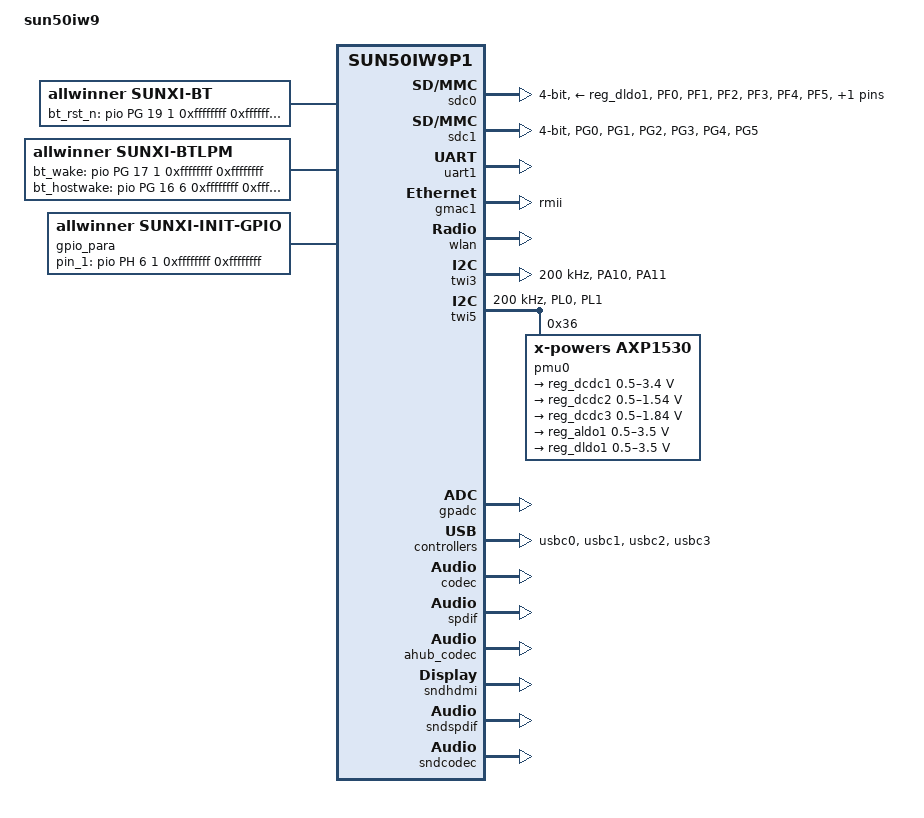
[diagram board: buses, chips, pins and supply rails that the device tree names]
/*
 * Allwinner Technology CO., Ltd. sun8iw19p1 soc board.
 *
 * soc board support.
 */

/dts-v1/;

#include "sun50iw9p1.dtsi"

/{
	model = "sun50iw9";
	compatible = "allwinner,h616", "arm,sun50iw9p1";

	soc@03000000 {
		sdc2: sdmmc@04022000 {
			pinctrl-0 = <&sdc2_pins_a &sdc2_pins_c>;
			non-removable;
			bus-width = <8>;
			mmc-ddr-1_8v;
			mmc-hs200-1_8v;
			mmc-hs400-1_8v;
			no-sdio;
			no-sd;
			cap-mmc-highspeed;
			sunxi-power-save-mode;
			sunxi-dis-signal-vol-sw;
			max-frequency = <100000000>;
			ctl-spec-caps = <0x8>;
			vmmc-supply = <&reg_dldo1>;
			vqmmc-supply = <&reg_aldo1>;
			status = "disabled";
		};

		sdc0: sdmmc@04020000 {
			pinctrl-0 = <&sdc0_pins_a>;
			bus-width = <4>;
			cd-gpios = <&pio PF 6 6 1 3 0xffffffff>;
			cd-used-24M;
			/*non-removable;*/
			/*broken-cd;*/
			/*cd-inverted*/
			/*data3-detect;*/
			cap-sd-highspeed;
			sd-uhs-sdr50;
			sd-uhs-ddr50;
			sd-uhs-sdr104;
			no-sdio;
			no-mmc;
			sunxi-power-save-mode;
			/*sunxi-dis-signal-vol-sw;*/
			max-frequency = <150000000>;
			ctl-spec-caps = <0x8>;
			vmmc-supply = <&reg_dldo1>;
			vqmmc33sw-supply = <&reg_dldo1>;
			vdmmc33sw-supply = <&reg_dldo1>;
			vqmmc18sw-supply = <&reg_aldo1>;
			vdmmc18sw-supply = <&reg_aldo1>;
			status = "okay";
		};

		sdc1: sdmmc@04021000 {
			pinctrl-0 = <&sdc1_pins_a>;
			bus-width = <4>;
			no-mmc;
			no-sd;
			cap-sd-highspeed;
			/*sd-uhs-sdr12*/
			/*sd-uhs-sdr25*/
			sd-uhs-sdr50;
			sd-uhs-ddr50;
			sd-uhs-sdr104;
			/*sunxi-power-save-mode;*/
			sunxi-dis-signal-vol-sw;
			sdio-used-1v8;
			cap-sdio-irq;
			keep-power-in-suspend;
			ignore-pm-notify;
			max-frequency = <150000000>;
			ctl-spec-caps = <0x8>;
			status = "okay";
		};

		uart1: uart@05000400 {
			status = "okay";
		};

		gmac0: eth@05020000 {
			phy-mode = "rgmii";
			use_ephy25m = <1>;
			tx-delay = <6>;
			rx-delay = <0>;
			status = "disabled";
		};

		gmac1: eth@05030000 {
			phy-mode = "rmii";
			status = "okay";
		};

		ac200: ac200 {
			tv_used = <1>;
			tv_twi_used = <1>;
			tv_twi_id = <3>;
			tv_twi_addr = <16>;
			tv_pwm_ch = <5>;
			status = "okay";
		};

		wlan:wlan {
			compatible    = "allwinner,sunxi-wlan";
			clocks        = <&clk_losc_out>;
			pinctrl-0     = <&clk_losc_pins_a>;
			pinctrl-names = "default";
			wlan_busnum   = <0x1>;
			wlan_power;
			wlan_io_regulator;
			wlan_regon    = <&pio PG 18 1 0xffffffff 0xffffffff 0>;
			wlan_hostwake = <&pio PG 15 6 0xffffffff 0xffffffff 0>;
			chip_en;
			power_en;
			status        = "okay";
		};

		bt:bt {
			compatible    = "allwinner,sunxi-bt";
			clocks        = <&clk_losc_out>;
			bt_power;
			bt_io_regulator;
			bt_rst_n      = <&pio PG 19 1 0xffffffff 0xffffffff 0>;
			status        = "okay";
		};

		btlpm:btlpm {
			compatible  = "allwinner,sunxi-btlpm";
			uart_index  = <0x1>;
			bt_wake     = <&pio PG 17 1 0xffffffff 0xffffffff 1>;
			bt_hostwake = <&pio PG 16 6 0xffffffff 0xffffffff 0>;
			status      = "okay";
		};

		addr_mgt:addr_mgt {
			compatible     = "allwinner,sunxi-addr_mgt";
			type_addr_wifi = <0x0>;
			type_addr_bt   = <0x0>;
			type_addr_eth  = <0x0>;
			status         = "okay";
		};

		r_pio: pinctrl@07022000 {

			s_twi0_pins_a: s_twi0@0 {
				allwinner,pins = "PL0", "PL1";
				allwinner,pname = "s_twi0_scl", "s_twi0_sda";
				allwinner,function = "s_twi0";
				allwinner,muxsel = <3>;
				allwinner,drive = <1>;
				allwinner,pull = <1>;
			};

			s_twi0_pins_b: s_twi0@1 {
				allwinner,pins = "PL0", "PL1";
				allwinner,function = "io_disabled";
				allwinner,muxsel = <7>;
				allwinner,drive = <1>;
				allwinner,pull = <0>;
			};
		};

		pio: pinctrl@0300b000 {

			spi1_pins_a: spi1@0 {
				allwinner,pins = "PH6", "PH7", "PH8";
				allwinner,pname = "spi1_sclk", "spi1_mosi", "spi1_miso";
				allwinner,function = "spi1";
			};

			spi1_pins_b: spi1@1 {
				allwinner,pins = "PH5", "PH9";
				allwinner,pname = "spi1_cs0", "spi1_cs1";
				allwinner,function = "spi1";
			};

			spi1_pins_c: spi1@2 {
				allwinner,pins = "PH5", "PH6", "PH7", "PH8", "PH9";
				allwinner,function = "io_disabled";
			};

			twi0_pins_a: twi0@0 {
				allwinner,pins = "PA0", "PA1";
				allwinner,pname = "twi0_scl", "twi0_sda";
				allwinner,function = "twi0";
				allwinner,muxsel = <4>;
				allwinner,drive = <1>;
				allwinner,pull = <0>;
			};

			twi0_pins_b: twi0@1 {
				allwinner,pins = "PA0", "PA1";
				allwinner,function = "io_disabled";
				allwinner,muxsel = <7>;
				allwinner,drive = <1>;
				allwinner,pull = <0>;
			};

			twi1_pins_a: twi1@0 {
				allwinner,pins = "PA2", "PA3";
				allwinner,pname = "twi1_scl", "twi1_sda";
				allwinner,function = "twi1";
				allwinner,muxsel = <4>;
				allwinner,drive = <1>;
				allwinner,pull = <0>;
			};

			twi1_pins_b: twi1@1 {
				allwinner,pins = "PA2", "PA3";
				allwinner,function = "io_disabled";
				allwinner,muxsel = <7>;
				allwinner,drive = <1>;
				allwinner,pull = <0>;
			};

			twi2_pins_a: twi2@0 {
				allwinner,pins = "PE20", "PE21";
				allwinner,pname = "twi2_scl", "twi2_sda";
				allwinner,function = "twi2";
				allwinner,muxsel = <5>;
				allwinner,drive = <1>;
				allwinner,pull = <0>;
			};

			twi2_pins_b: twi2@1 {
				allwinner,pins = "PE20", "PE21";
				allwinner,function = "io_disabled";
				allwinner,muxsel = <7>;
				allwinner,drive = <1>;
				allwinner,pull = <0>;
			};

			twi3_pins_a: twi3@0 {
				allwinner,pins = "PA10", "PA11";
				allwinner,pname = "twi3_scl", "twi3_sda";
				allwinner,function = "twi3";
				allwinner,muxsel = <2>;
				allwinner,drive = <1>;
				allwinner,pull = <1>;
			};

			twi3_pins_b: twi3@1 {
				allwinner,pins = "PA10", "PA11";
				allwinner,function = "io_disabled";
				allwinner,muxsel = <7>;
				allwinner,drive = <1>;
				allwinner,pull = <0>;
			};

			twi4_pins_a: twi4@0 {
				allwinner,pins = "PG15", "PG16";
				allwinner,pname = "twi4_scl", "twi4_sda";
				allwinner,function = "twi4";
				allwinner,muxsel = <5>;
				allwinner,drive = <1>;
				allwinner,pull = <0>;
			};

			twi4_pins_b: twi4@1 {
				allwinner,pins = "PG15", "PG16";
				allwinner,function = "io_disabled";
				allwinner,muxsel = <7>;
				allwinner,drive = <1>;
				allwinner,pull = <0>;
			};
			sdc0_pins_a: sdc0@0 {
				allwinner,pins = "PF0", "PF1", "PF2",
						 "PF3", "PF4", "PF5";
				allwinner,function = "sdc0";
				allwinner,muxsel = <2>;
				allwinner,drive = <3>;
				allwinner,pull = <1>;
			};
			sdc1_pins_a: sdc1@0 {
				allwinner,pins = "PG0", "PG1", "PG2",
						 "PG3", "PG4", "PG5";
				allwinner,function = "sdc1";
				allwinner,muxsel = <2>;
				allwinner,drive = <3>;
				allwinner,pull = <1>;
			};
			sdc2_pins_a: sdc2@0 {
				allwinner,pins = "PC1", "PC5", "PC6",
						 "PC8", "PC9", "PC10", "PC11",
						 "PC13", "PC14", "PC15", "PC16";
				allwinner,function = "sdc2";
				allwinner,muxsel = <3>;
				allwinner,drive = <2>;
				allwinner,pull = <1>;
			};
			sdc2_pins_b: sdc2@1 {
				allwinner,pins = "PC0", "PC1", "PC5", "PC6",
						 "PC8", "PC9", "PC10", "PC11",
						 "PC13", "PC14", "PC15", "PC16";
				allwinner,function = "io_disabled";
				allwinner,muxsel = <7>;
				allwinner,drive = <1>;
				allwinner,pull = <1>;
			};
			sdc2_pins_c: sdc2@2 {
				allwinner,pins = "PC0";
				allwinner,function = "sdc2";
				allwinner,muxsel = <3>;
				allwinner,drive = <2>;
				allwinner,pull = <2>;
			};
			pwm5_pin_a: pwm5@0 {
				allwinner,pins = "PA12";
				allwinner,function = "pwm5";
				allwinner,muxsel = <0x02>;
				allwinner,drive = <0xffffffff>;
				allwinner,pull = <0>;
				allwinner,data = <0xffffffff>;
			};
			pwm5_pin_b: pwm5@1 {
				allwinner,pins = "PA12";
				allwinner,function = "io_disabled";
				allwinner,muxsel = <0x07>;
				allwinner,drive = <0xffffffff>;
				allwinner,pull = <0>;
				allwinner,data = <0xffffffff>;
			};
			standby_red: standby@0 {
				allwinner,pins = "PH6";
				allwinner,function = "gpio_out";
				allwinner,muxsel = <1>;
				allwinner,data = <1>;
				allwinner,drive = <0>;
				allwinner,pull = <0>;
			};
			standby_blue: standby@1 {
				allwinner,pins = "PH7";
				allwinner,function = "gpio_out";
				allwinner,muxsel = <1>;
				allwinner,data = <0>;
				allwinner,drive = <2>;
				allwinner,pull = <2>;
			};
			standby_bt: standby@2 {
				allwinner,pins = "PG16";
				allwinner,function = "gpio_in";
				allwinner,muxsel = <0>;
				allwinner,data = <0>;
				allwinner,drive = <0>;
				allwinner,pull = <0>;
			};
		};

		spi1: spi@05011000 {
			pinctrl-0 = <&spi1_pins_a &spi1_pins_b>;
			pinctrl-1 = <&spi1_pins_c>;
			spi_slave_mode = <0>;
			status = "disabled";
			spi_board1 {
				device_type = "spi_board1";
				compatible = "rohm,dh2228fv";
				spi-max-frequency = <0x5f5e100>;
				reg = <0x0>;
				spi-rx-bus-width = <0x1>;
				spi-tx-bus-width = <0x1>;
			};
		};

		twi0: twi@0x05002000{
			clock-frequency = <400000>;
			pinctrl-0 = <&twi0_pins_a>;
			pinctrl-1 = <&twi0_pins_b>;
			status = "disabled";
		};

		twi1: twi@0x05002400{
			clock-frequency = <200000>;
			pinctrl-0 = <&twi1_pins_a>;
			pinctrl-1 = <&twi1_pins_b>;
			status = "disabled";
		};

		twi2: twi@0x05002800{
			clock-frequency = <200000>;
			pinctrl-0 = <&twi2_pins_a>;
			pinctrl-1 = <&twi2_pins_b>;
			status = "disabled";
		};

		twi3: twi@0x05002c00{
			clock-frequency = <200000>;
			pinctrl-0 = <&twi3_pins_a>;
			pinctrl-1 = <&twi3_pins_b>;
			status = "okay";
		};

		twi4: twi@0x05003000{
			clock-frequency = <200000>;
			pinctrl-0 = <&twi4_pins_a>;
			pinctrl-1 = <&twi4_pins_b>;
			status = "disabled";
		};

		twi5: twi@0x07081400{
			clock-frequency = <200000>;
			pinctrl-0 = <&s_twi0_pins_a>;
			pinctrl-1 = <&s_twi0_pins_b>;
			status = "okay";
		};

		pwm5: pwm5@0300a000 {
			pinctrl-names = "active", "sleep";
			pinctrl-0 = <&pwm5_pin_a>;
			pinctrl-1 = <&pwm5_pin_b>;
			/*internal pwm as clock,no ouput*/
			clk_bypass_output = <0x01>;
		};

	      /*----------------------------------------------------------------------------------
	       *resistance gpadc configuration
	       *channel_num:   Maxinum number of channels supported on the platform.
	       *channel_select:   channel enable setection. channel0:0x01  channel1:0x02 channel2:0x04 channel3:0x08
	       *channel_data_select:  channel data enable.  channel0:0x01  channel1:0x02 channel2:0x04 channel3:0x08.
	       *channel_compare_select:   compare function enable channel0:0x01  channel1:0x02 channel2:0x04 channel3:0x08.
	       *channel_cld_select:  compare function low data enable setection: channel0:0x01  channel1:0x02 channel2:0x04 channel3:0x08.
	       *channel_chd_select:  compare function hig data enable setection: channel0:0x01  channel1:0x02 channel2:0x04 channel3:0x08.
	       *----------------------------------------------------------------------------------*/
		gpadc:gpadc{
			channel_num = <1>;
			channel_select = <0x01>;
			channel_data_select = <0>;
			channel_compare_select = <0x01>;
			channel_cld_select = <0x01>;
			channel_chd_select = <0>;
			channel0_compare_lowdata = <1700000>;
			channel0_compare_higdata = <1200000>;
			key_cnt = <5>;
			key0_vol = <115>;
			key0_val = <115>;
			key1_vol = <240>;
			key1_val = <114>;
			key2_vol = <360>;
			key2_val = <139>;
			key3_vol = <480>;
			key3_val = <28>;
			key4_vol = <600>;
			key4_val = <102>;
			status = "okay";
		};
/*
 *usb_used: usb controller enable. 0-disable, 1-enable.
 *usb_port_type: usb mode. 0-device, 1-host, 2-otg.
 *usb_detect_type: usb hotplug detect mode. 0-none, 1-vbus/id detect, 2-id/dpdm detect.
 */
		usbc0:usbc0@0 {
			device_type		= "usbc0";
			usb_port_type		= <0x0>;
			usb_detect_type		= <0x1>;
			usb_detect_mode		= <0x0>;
			usb_id_gpio;
			usb_det_vbus_gpio;
			usb_drv_vbus_gpio;
			usb_host_init_state	= <0x0>;
			usb_regulator_io	= "nocare";
			usb_wakeup_suspend	= <0x2>;
			usb_luns		= <0x3>;
			usb_serial_unique	= <0x0>;
			usb_serial_number	= "20080411";
			status			= "okay";
		};

		usbc1:usbc1@0 {
			device_type		= "usbc1";
			usb_drv_vbus_gpio	= <&pio PH 8 0 1 0xffffffff 0xffffffff>;
			usb_host_init_state	= <0x1>;
			usb_regulator_io	= "nocare";
			usb_wakeup_suspend	= <0x2>;
			status			= "okay";
		};

		usbc2:usbc2@0 {
			device_type		= "usbc2";
			usb_drv_vbus_gpio;
			usb_host_init_state	= <0x1>;
			usb_regulator_io	= "nocare";
			usb_wakeup_suspend	= <0x2>;
			status			= "okay";
		};

		usbc3:usbc3@0 {
			device_type		= "usbc3";
			usb_drv_vbus_gpio;
			usb_host_init_state	= <0x1>;
			usb_regulator_io	= "nocare";
			usb_wakeup_suspend	= <0x2>;
			status			= "okay";
		};

		/* audio dirver module */
		codec:codec@0x05096000 {
			adcdrc_cfg  = <0x00>;
			adchpf_cfg  = <0x00>;
			dacdrc_cfg  = <0x00>;
			dachpf_cfg  = <0x00>;
			fmin_gain   = <0x03>;
			linein_gain = <0x03>;
			digital_vol = <0x00>;
			lineout_vol = <0x1a>;
			/* CVBS audio output enable control */
			gpio-spk = <&pio PH 5 1 1 1 1>;
			pa_ctl_level   = <0x01>;
			pa_msleep_time = <0x64>;
			ramp_func_used = <0x01>;
			/* codec regulator about */
			avcc-supply = <&reg_aldo1>;
			vcc33_audio-supply = <&reg_dldo1>;
			status = "okay";
		};

		spdif:spdif-controller@0x05093000{
			status = "okay";
		};

		dmic:dmic-controller@0x05095000{
			status = "disabled";
		};

		ahub_codec:ahub_codec@0x05097000{
			status = "okay";
		};

		ahub_daudio0:ahub_daudio0@0x05097000{
			/* for choose the corresponding pins */
			pinctrl-0 = <&ahub_daudio0_pins_c>;
			pinctrl-1 = <&ahub_daudio0_pins_d>;
			pinconfig 		= <0x01>;
			frametype 		= <0x00>;
			pcm_lrck_period		= <0x20>;
			slot_width_select	= <0x20>;
			daudio_master		= <0x04>;
			audio_format  		= <0x01>;
			signal_inversion 	= <0x01>;
			tdm_config		= <0x01>;
			mclk_div 		= <0x00>;
			status = "okay";
		};

		ahub_daudio1:ahub_daudio1@0x05097000{
			pinconfig 		= <0x00>;
			frametype 		= <0x00>;
			pcm_lrck_period 	= <0x20>;
			slot_width_select 	= <0x20>;
			daudio_master 		= <0x04>;
			audio_format 		= <0x01>;
			signal_inversion 	= <0x01>;
			tdm_config 		= <0x01>;
			mclk_div 		= <0x01>;
			status = "okay";
		};

		ahub_daudio2:ahub_daudio2@0x05097000{
			pinconfig 		= <0x01>;
			frametype 		= <0x00>;
			pcm_lrck_period 	= <0x20>;
			slot_width_select 	= <0x20>;
			daudio_master 		= <0x04>;
			audio_format 		= <0x01>;
			signal_inversion 	= <0x01>;
			tdm_config 		= <0x01>;
			mclk_div 		= <0x04>;
			status = "disabled";
		};

		ahub_daudio3:ahub_daudio3@0x05097000{
			pinconfig 		= <0x01>;
			frametype 		= <0x00>;
			pcm_lrck_period 	= <0x20>;
			slot_width_select 	= <0x20>;
			daudio_master 		= <0x04>;
			audio_format 		= <0x01>;
			signal_inversion 	= <0x01>;
			tdm_config 		= <0x01>;
			mclk_div 		= <0x04>;
			status = "disabled";
		};

		snddaudio0:sound@0{
			status = "okay";
		};

		sndhdmi:sound@1{
			status = "okay";
		};

		snddaudio2:sound@2{
			status = "disabled";
		};

		snddaudio3:sound@3{
			/* acx00-codec throught mfd_add_devices */
			/*
			sunxi,snddaudio-codec = "acx00-codec";
			sunxi,snddaudio-codec-dai = "acx00-dai";
			*/
			status = "disabled";
		};

		sndspdif:sound@4{
			status = "okay";
		};

		snddmic:sound@5{
			status = "disabled";
		};

		sndcodec:sound@6{
			status = "okay";
		};

		sndahub:sound@7{
			status = "okay";
		};
		gpio_para {
			device_type = "gpio_para";
			status = "okay";
			compatible = "allwinner,sunxi-init-gpio";
			gpio_num = <1>;
			gpio_pin_1 = <&pio PH 6 1 0xffffffff 0xffffffff 1>;
			normal_led = "gpio_pin_1";
			easy_light_used = <1>;
			normal_led_light = <1>;
		};
		/*----------------------------------------------------------------------------------
		disp init configuration

		disp_mode             (0:screen0<screen0,fb0>)
		screenx_output_type   (0:none; 1:lcd; 2:tv; 3:hdmi;5:vdpo)
		screenx_output_mode   (used for hdmi output, 0:480i 1:576i 2:480p 3:576p 4:720p50)
		                      (5:720p60 6:1080i50 7:1080i60 8:1080p24 9:1080p50 10:1080p60)
		screenx_output_format (for hdmi, 0:RGB 1:yuv444 2:yuv422 3:yuv420)
		screenx_output_bits   (for hdmi, 0:8bit 1:10bit 2:12bit 2:16bit)
		screenx_output_eotf   (for hdmi, 0:reserve 4:SDR 16:HDR10 18:HLG)
		screenx_output_cs     (for hdmi, 0:undefined  257:BT709 260:BT601  263:BT2020)
		screenx_output_dvi_hdmi (for hdmi, 0:undefined 1:dvi mode 2:hdmi mode)
		screen0_output_range   (for hdmi, 0:default 1:full 2:limited)
		screen0_output_scan    (for hdmi, 0:no data 1:overscan 2:underscan)
		screen0_output_aspect_ratio  (for hdmi, 8-same as original picture 9-4:3 10-16:9 11-14:9)
		fbx format            (4:RGB655 5:RGB565 6:RGB556 7:ARGB1555 8:RGBA5551 9:RGB888 10:ARGB8888 12:ARGB4444)
		fbx pixel sequence    (0:ARGB 1:BGRA 2:ABGR 3:RGBA)
		fb0_scaler_mode_enable(scaler mode enable, used FE)
		fbx_width,fbx_height  (framebuffer horizontal/vertical pixels, fix to output resolution while equal 0)
		lcdx_backlight        (lcd init backlight,the range:[0,256],default:197
		lcdx_yy               (lcd init screen bright/contrast/saturation/hue, value:0~100, default:50/50/57/50)
		lcd0_contrast         (LCD contrast, 0~100)
		lcd0_saturation       (LCD saturation, 0~100)
		lcd0_hue              (LCD hue, 0~100)
		framebuffer software rotation setting:
		disp_rotation_used:   (0:disable; 1:enable,you must set fbX_width to lcd_y,
		set fbX_height to lcd_x)
		degreeX:              (X:screen index; 0:0 degree; 1:90 degree; 3:270 degree)
		degreeX_Y:            (X:screen index; Y:layer index 0~15; 0:0 degree; 1:90 degree; 3:270 degree)
		----------------------------------------------------------------------------------*/
		disp: disp@01000000 {
			disp_init_enable         = <1>;
			disp_mode                = <0>;

			screen0_output_type      = <3>;
			screen0_output_mode      = <10>;
			screen0_output_format    = <0>;
			screen0_output_bits      = <0>;
			screen0_output_eotf      = <4>;
			screen0_output_cs        = <257>;
			screen0_output_dvi_hdmi  = <2>;
			screen0_output_range     = <2>;
			screen0_output_scan      = <0>;
			screen0_output_aspect_ratio = <8>;

			screen1_output_type      = <2>;
			screen1_output_mode      = <11>;
			screen1_output_format    = <1>;
			screen1_output_bits      = <0>;
			screen1_output_eotf      = <4>;
			screen1_output_cs        = <260>;
			screen1_output_dvi_hdmi  = <0>;
			screen1_output_range     = <2>;
			screen1_output_scan      = <0>;
			screen1_output_aspect_ratio = <8>;
			dev0_output_type         = <4>;
			dev0_output_mode         = <10>;
			dev0_screen_id           = <0>;
			dev0_do_hpd              = <1>;

			dev1_output_type         = <2>;
			dev1_output_mode         = <11>;
			dev1_screen_id           = <1>;
			dev1_do_hpd              = <1>;

			dev2_output_type         = <0>;
			def_output_dev           = <0>;
			hdmi_mode_check          = <1>;

			fb0_format               = <0>;
			fb0_width                = <1280>;
			fb0_height               = <720>;

			fb1_format               = <0>;
			fb1_width                = <0>;
			fb1_height               = <0>;

			chn_cfg_mode             = <1>;

			disp_para_zone           = <1>;
			/* VCC-LCD */
			/*dc1sw-supply = <&reg_sw>;*/
			/* VCC-LVDS and VCC-HDMI */
			/*bldo1-supply = <&reg_bldo1>;*/
			/* VCC-TV */
			/*cldo4-supply = <&reg_cldo4>;*/

		};

		/*----------------------------------------------------------------------------------
		;tv configuration
		;dac_src            (dac no,support dac_src0~dac_src3,dac num max is 4)
		;interface          (interface type,1<->cvbs,2<->YPBPR,4<->SVIDEO)
		;dac_type           (0<->composite,1<->luma,2<->chroma,3<->reserved,4<->y/green,
		;                    5<->u/pb/blue,6<->v/pr/red)
		;NOTE:              tv0,tv1 can not use the same dac_src.
		;---------------------------------------------------------------------------------*/

		tv0: tv0@01c94000 {
			status =  "okay";

			dac_src0        = <0>;
			dac_type0       = <0>;

			interface       = <1>;
			/*tv_power = "cldo4";*/
		};

		/*----------------------------------------------------------------------------------
		;lcd0 configuration

		;lcd_if:               0:hv(sync+de); 1:8080; 2:ttl; 3:lvds; 4:dsi; 5:edp; 6:extend dsi
		;lcd_hv_if             0:Parallel RGB; 8:Serial RGB; 10:Dummy RGB; 11: RGB Dummy;12:CCIR656
		;lcd_hv_clk_phase      0:0 degree;1:90 degree;2:180 degree;3:270 degree
		;lcd_hv_sync_polarity  0:vs low,hs low; 1:vs high,hslow; 2:vs low,hs high; 3:vs high,hs high
		;lcd_hv_syuv_seq       0:YUYV; 1:YVYU; 2:UYVY; 3:VYUY
		;lcd_cpu_if            0:18bit/1 cycle parallel(RGB666); 4:16bit/1cycle parallel (RGB565)
		;                      6:18bit/3 cycle parallel(RGB666); 7:16bit/2cycle parallel (RGB565)
		;lcd_cpu_te            0:frame auto trigger; 1:frame triggered by te rising edge; 2:frame triggered by te falling edge;
		;lcd_dsi_if            0:video mode; 1: Command mode; 2:video burst mode
		;lcd_dsi_te            0:frame auto trigger; 1:frame triggered by te rising edge; 2:frame triggered by te falling edge;
		;lcd_x:                lcd horizontal resolution
		;lcd_y:                lcd vertical resolution
		;lcd_width:            width of lcd in mm
		;lcd_height:           height of lcd in mm
		;lcd_dclk_freq:        in MHZ unit
		;lcd_pwm_freq:         in HZ unit
		;lcd_pwm_pol:          lcd backlight PWM polarity
		;lcd_pwm_max_limit     lcd backlight PWM max limit(<=255)
		;lcd_hbp:              hsync back porch(pixel) + hsync plus width(pixel);
		;lcd_ht:               hsync total cycle(pixel)
		;lcd_vbp:              vsync back porch(line) + vysnc plus width(line)
		;lcd_vt:               vysnc total cycle(line)
		;lcd_hspw:             hsync plus width(pixel)
		;lcd_vspw:             vysnc plus width(pixel)
		;lcd_lvds_if:          0:single link;  1:dual link
		;lcd_lvds_colordepth:  0:8bit; 1:6bit
		;lcd_lvds_mode:        0:NS mode; 1:JEIDA mode
		;lcd_frm:              0:disable; 1:enable rgb666 dither; 2:enable rgb656 dither
		;lcd_io_phase:         0:noraml; 1:intert phase(0~3bit: vsync phase; 4~7bit:hsync phase;
		;                      8~11bit:dclk phase; 12~15bit:de phase)
		;lcd_gamma_en          lcd gamma correction enable
		;lcd_bright_curve_en   lcd bright curve correction enable
		;lcd_cmap_en           lcd color map function enable
		;deu_mode              0:smoll lcd screen; 1:large lcd screen(larger than 10inch)
		;lcdgamma4iep:         Smart Backlight parameter, lcd gamma vale * 10;
		;                      decrease it while lcd is not bright enough; increase while lcd is too bright
		;smart_color           90:normal lcd screen 65:retina lcd screen(9.7inch)
		;Pin setting for special function ie.LVDS, RGB data or vsync
		;   name(donot care) = port:PD12<pin function><pull up or pull down><drive ability><output level>
		;Pin setting for gpio:
		;   lcd_gpio_X     = port:PD12<pin function><pull up or pull down><drive ability><output level>
		;Pin setting for backlight enable pin
		;   lcd_bl_en     = port:PD12<pin function><pull up or pull down><drive ability><output level>
		;fsync setting, pulse to csi
		;lcd_fsync_en          (0:disable fsync,1:enable)
		;lcd_fsync_act_time    (active time of fsync, unit:pixel)
		;lcd_fsync_pol         (0:positive;1:negative)
		;gpio config: <&pio for cpu or &r_pio for cpus, port, port num, pio function,
		pull up or pull down(default 0), driver level(default 1), data>
		;For dual link lvds: use lvds2link_pins_a  and lvds2link_pins_b instead
		;For rgb24: use rgb24_pins_a  and rgb24_pins_b instead
		;For lvds1: use lvds1_pins_a  and lvds1_pins_b instead
		;For lvds0: use lvds0_pins_a  and lvds0_pins_b instead
		;----------------------------------------------------------------------------------*/
		lcd0: lcd0@01c0c000 {
			lcd_used            = <0>;

			lcd_driver_name     = "default_lcd";
			lcd_backlight       = <50>;
			lcd_if              = <0>;

			lcd_x               = <1280>;
			lcd_y               = <800>;
			lcd_width           = <150>;
			lcd_height          = <94>;
			lcd_dclk_freq       = <70>;

			lcd_pwm_used        = <0>;
			lcd_pwm_ch          = <0>;
			lcd_pwm_freq        = <50000>;
			lcd_pwm_pol         = <0>;
			lcd_pwm_max_limit   = <255>;


			lcd_hbp             = <20>;
			lcd_ht              = <1418>;
			lcd_hspw            = <10>;
			lcd_vbp             = <10>;
			lcd_vt              = <814>;
			lcd_vspw            = <5>;

			lcd_lvds_if         = <0>;
			lcd_lvds_colordepth = <0>;
			lcd_lvds_mode       = <0>;
			lcd_frm             = <0>;
			lcd_hv_clk_phase    = <0>;
			lcd_hv_sync_polarity= <0>;
			lcd_gamma_en        = <0>;
			lcd_bright_curve_en = <0>;
			lcd_cmap_en         = <0>;

			deu_mode            = <0>;
			lcdgamma4iep        = <22>;
			smart_color         = <90>;

			lcd_pin_power = "bldo1";

			lcd_power = "dc1sw";
			/*lcd_bl_en        = <&pio PD 27 1 0 3 1>;*/
			pinctrl-0 = <&rgb24_pins_a>;
			pinctrl-1 = <&rgb24_pins_b>;

		};

		/*----------------------------------------------------------------------------------
		;hdmi configuration
		;hdmi_used:             if hdmi is used
		;hdmi_hdcp_enable:      if hdmi hdcp function enable
		;hdmi_cts_compatibility:if hdmi cts test compatibility enable
		;hdmi_power:            power name for hdmi
		;--------------------------------------------------------------------------------*/
		hdmi: hdmi@06000000 {
			hdmi_used = <1>;
			hdmi_power_cnt = <2>;
			hdmi_power0 = "vcc-hdmi";
			hdmi_power1 = "vdd-hdmi";
			hdmi_hdcp_enable = <1>;
			hdmi_hdcp22_enable = <1>;
			hdmi_cts_compatibility = <0>;
			hdmi_cec_support = <1>;
			hdmi_cec_super_standby = <0>;
			hdmi_skip_bootedid = <1>;

			ddc_en_io_ctrl = <0>;
			power_io_ctrl = <0>;
		};
	};
	box_start_os0 {
		compatible = "allwinner,box_start_os";
		start_type = <0x1>;
		irkey_used = <0x0>;
		pmukey_used = <0x0>;
		pmukey_num = <0x0>;
		led_power = <0x0>;
		led_state = <0x0>;
		pinctrl-0 = <&standby_blue>;
		pinctrl-1 = <&standby_red>;
/*		pinctrl-2 = <&standby_bt>;*/
	};
	gpu: gpu@0x01800000 {
			gpu_idle = <1>;
			dvfs_status = <0>;
			operating-points = <
				 /* KHz   uV */
				600000 950000
				576000 950000
				540000 950000
				504000 950000
			 >;
	};
};

&aliases {
	pmu0 = &pmu0;
	standby_param = &standby_param;
};

&s_cir0 {
	s_cir0_used = <1>;
	ir_power_key_code0 = <0x40>;
	ir_addr_code0 = <0xfe01>;
	ir_power_key_code1 = <0x1a>;
	ir_addr_code1 = <0xfb04>;
	ir_power_key_code2 = <0xf2>;
	ir_addr_code2 = <0x2992>;
	ir_power_key_code3 = <0x57>;
	ir_addr_code3 = <0x9f00>;
	ir_power_key_code4 = <0xdc>;
	ir_addr_code4 = <0x4cb3>;
	ir_power_key_code5 = <0x18>;
	ir_addr_code5 = <0xff00>;
	ir_power_key_code6 = <0xdc>;
	ir_addr_code6 = <0xdd22>;
	ir_power_key_code7 = <0x0d>;
	ir_addr_code7 = <0xbc00>;
	ir_power_key_code8 = <0x4d>;
	ir_addr_code8 = <0x4040>;
	wakeup-source;
};

&cpu_trips{
	cpu_crit: cpu_crit@0 {
		temperature = <115000>;
		type = "critical";
		hysteresis = <0>;
	};
};

&twi5 {
	no_suspend = <1>;
	status = "okay";

	pmu0: pmu{
		compatible = "x-powers,axp1530";
		reg = <0x36>;
/*		interrupt-parent = <&nmi_intc>;
		interrupts = <0 IRQ_TYPE_LEVEL_LOW>;
		interrupt-controller;
		#interrupt-cells = <1>;*/

		wakeup-source;

		standby_param: standby_param {
			vcc-dram = <0x4>;
		};

		regulators{
			reg_dcdc1: dcdc1 {
				regulator-name = "axp1530-dcdc1";
				regulator-min-microvolt = <500000>;
				regulator-max-microvolt = <3400000>;
				regulator-step-delay-us = <25>;
				regulator-final-delay-us = <50>;
				regulator-always-on;
			};

			reg_dcdc2: dcdc2 {
				regulator-name = "axp1530-dcdc2";
				regulator-min-microvolt = <500000>;
				regulator-max-microvolt = <1540000>;
				regulator-step-delay-us = <25>;
				regulator-final-delay-us = <50>;
				regulator-ramp-delay = <200>; /* FIXME */
				regulator-always-on;
			};

			reg_dcdc3: dcdc3 {
				regulator-name = "axp1530-dcdc3";
				regulator-min-microvolt = <500000>;
				regulator-max-microvolt = <1840000>;
				regulator-step-delay-us = <25>;
				regulator-final-delay-us = <50>;
				regulator-always-on;
			};

			reg_aldo1: ldo1 {
				regulator-name = "axp1530-aldo1";
				regulator-min-microvolt = <500000>;
				regulator-max-microvolt = <3500000>;
				regulator-step-delay-us = <25>;
				regulator-final-delay-us = <50>;
				regulator-always-on;
			};

			reg_dldo1: ldo2 {
				regulator-name = "axp1530-dldo1";
				regulator-min-microvolt = <500000>;
				regulator-max-microvolt = <3500000>;
				regulator-step-delay-us = <25>;
				regulator-final-delay-us = <50>;
				regulator-always-on;
			};
		};
	};
};

&cpu0 {
	cpu-supply = <&reg_dcdc2>;
};
